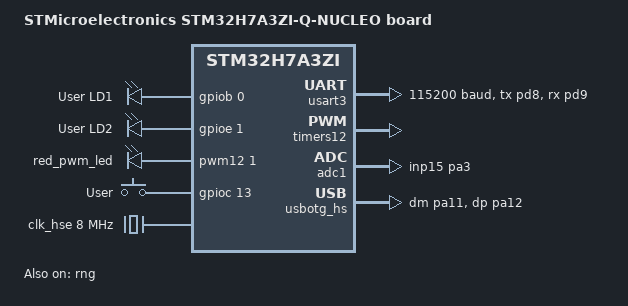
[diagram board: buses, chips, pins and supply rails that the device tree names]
/*
 * Copyright (c) 2021 Electrolance Solutions
 *
 * SPDX-License-Identifier: Apache-2.0
 */

/dts-v1/;
#include <st/h7/stm32h7a3Xi.dtsi>
#include <st/h7/stm32h7a3z(g-i)txq-pinctrl.dtsi>
#include "arduino_r3_connector.dtsi"

/ {
	model = "STMicroelectronics STM32H7A3ZI-Q-NUCLEO board";
	compatible = "st,stm32h7a3zi-q-nucleo";

	chosen {
		zephyr,console = &usart3;
		zephyr,shell-uart = &usart3;
		zephyr,sram = &sram0;
		zephyr,flash = &flash0;
		zephyr,dtcm = &dtcm;
		zephyr,itcm = &itcm;
	};

	leds {
		compatible = "gpio-leds";
		green_led: led_0 {
			gpios = <&gpiob 0 GPIO_ACTIVE_HIGH>;
			label = "User LD1";
		};
		yellow_led: led_1 {
			gpios = <&gpioe 1 GPIO_ACTIVE_HIGH>;
			label = "User LD2";
		};
	};

	pwmleds {
		compatible = "pwm-leds";

		red_pwm_led: red_pwm_led {
			pwms = <&pwm12 1 PWM_MSEC(20) PWM_POLARITY_NORMAL>;
		};
	};

	gpio_keys {
		compatible = "gpio-keys";
		user_button: button_0 {
			label = "User";
			gpios = <&gpioc 13 GPIO_ACTIVE_HIGH>;
		};
	};

	aliases {
		led0 = &green_led;
		led1 = &yellow_led;
		pwm-led0 = &red_pwm_led;
		sw0 = &user_button;
	};
};

&clk_hsi48 {
	status = "okay";
};

&clk_hse {
	hse-bypass;
	clock-frequency = <DT_FREQ_M(8)>; /* STLink 8MHz clock */
	status = "okay";
};

&pll {
	div-m = <1>;
	mul-n = <35>;
	div-p = <1>;
	div-q = <5>;
	div-r = <2>;
	clocks = <&clk_hse>;
	status = "okay";
};

&rcc {
	clocks = <&pll>;
	clock-frequency = <DT_FREQ_M(280)>;
	d1cpre = <1>;
	hpre = <1>;
	d1ppre = <2>;
	d2ppre1 = <2>;
	d2ppre2 = <2>;
	d3ppre = <2>;
};

&usart3 {
	pinctrl-0 = <&usart3_tx_pd8 &usart3_rx_pd9>;
	pinctrl-names = "default";
	current-speed = <115200>;
	status = "okay";
};

&backup_sram {
	status = "okay";
};

&timers12 {
	st,prescaler = <10000>;
	status = "okay";

	pwm12: pwm {
		status = "okay";
		pinctrl-names = "default";
		pinctrl-0 = <&tim12_ch1_pb14>;
	};
};

&adc1 {
	pinctrl-0 = <&adc1_inp15_pa3>;
	pinctrl-names = "default";
	status = "okay";
};

zephyr_udc0: &usbotg_hs {
	pinctrl-0 = <&usb_otg_hs_dm_pa11 &usb_otg_hs_dp_pa12>;
	pinctrl-names = "default";
	status = "okay";
};

&rng {
	status = "okay";
};
